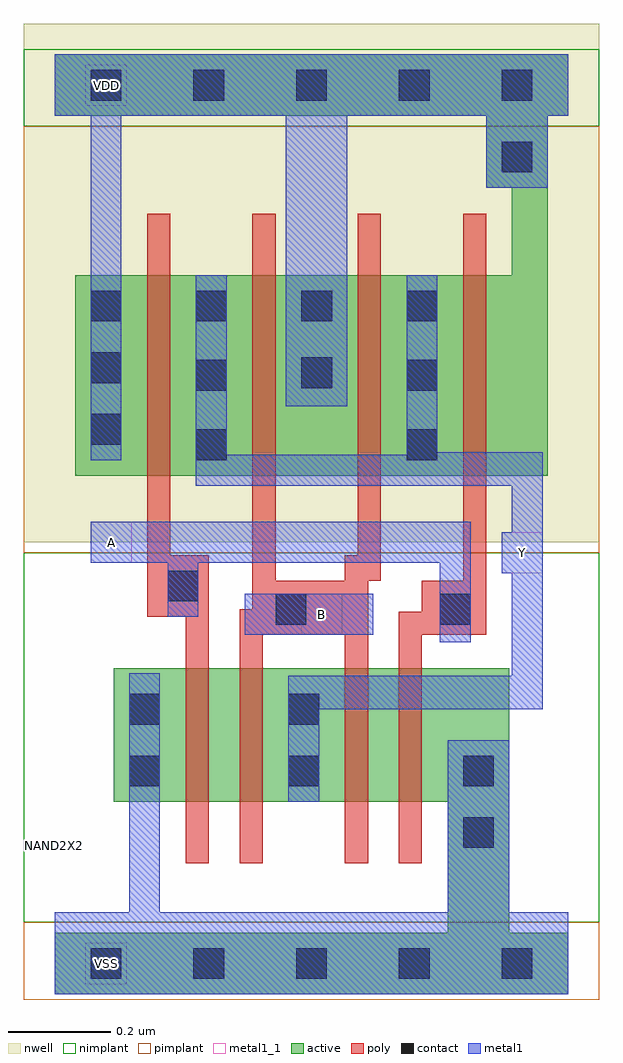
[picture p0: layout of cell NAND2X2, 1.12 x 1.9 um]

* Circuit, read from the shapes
.subckt NAND2X2 A B VDD VSS Y
M1 n1 A VSS VSS nfet w=0.26u l=0.045u
M2 Y B n1 VSS nfet w=0.26u l=0.045u
M3 n2 B Y VSS nfet w=0.26u l=0.045u
M4 VSS A n2 VSS nfet w=0.26u l=0.045u
M5 Y A VDD VDD pfet w=0.39u l=0.045u m=2
M6 VDD B Y VDD pfet w=0.39u l=0.045u m=2
.ends

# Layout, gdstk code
import gdstk
lib = gdstk.Library(unit=1e-6, precision=5e-10)
def R(c, l, rs):  # rectangles x0, y0, x1, y1
    for r in rs: c.add(gdstk.rectangle(r[:2], r[2:], *l))
def A(c, l, x, y, w, h, nx, ny, dx, dy):  # array of equal rectangles
    R(c, l, [(x+i*dx, y+j*dy, x+i*dx+w, y+j*dy+h) for i in range(nx) for j in range(ny)])
def P(c, l, *ps):  # polygons
    for p in ps: c.add(gdstk.Polygon(p, *l))
active = (1, 0)
nwell = (2, 0)
poly = (3, 0)
nimplant = (4, 0)
pimplant = (5, 0)
contact = (6, 0)
metal1 = (7, 0)
metal1_1 = (7, 1)

nand2x2 = lib.new_cell('NAND2X2')
P(nand2x2, active, [(1,0.06),(0.885,0.06),(0.885,0.575),(0.115,0.575),(0.115,0.315),(0.765,0.315),(0.765,0.06),(0,0.06),(0,-0.06),(1,-0.06)],
  [(1,1.77),(0,1.77),(0,1.65),(0.84,1.65),(0.84,1.51),(0.89,1.51),(0.89,1.34),(0.04,1.34),(0.04,0.95),(0.96,0.95),(0.96,1.65),(1,1.65)])
R(nand2x2, nwell, [(-0.06,0.82,1.06,1.83)])
P(nand2x2, poly, [(0.84,1.46),(0.795,1.46),(0.795,0.745),(0.715,0.745),(0.715,0.685),(0.67,0.685),(0.67,0.195),(0.715,0.195),(0.715,0.64),(0.84,0.64)],
  [(0.635,1.46),(0.59,1.46),(0.59,0.795),(0.565,0.795),(0.565,0.745),(0.43,0.745),(0.43,1.46),(0.385,1.46),(0.385,0.69),(0.36,0.69),(0.36,0.195),(0.405,0.195),(0.405,0.64),(0.565,0.64),(0.565,0.195),(0.61,0.195),(0.61,0.745),(0.635,0.745)],
  [(0.3,0.795),(0.225,0.795),(0.225,1.46),(0.18,1.46),(0.18,0.675),(0.255,0.675),(0.255,0.195),(0.3,0.195)])
R(nand2x2, nimplant, [(-0.06,0.08,1.06,0.8), (-0.06,1.63,1.06,1.78)])
R(nand2x2, pimplant, [(-0.06,-0.07,1.06,0.08), (-0.06,0.8,1.06,1.63)])
A(nand2x2, contact, 0.07, -0.03, 0.06, 0.06, 5, 2, 0.2, 1.71)
A(nand2x2, contact, 0.07, 1.25, 0.06, 0.06, 4, 1, 0.205, 0)
R(nand2x2, contact, [(0.795,0.225,0.855,0.285), (0.145,0.345,0.205,0.405), (0.455,0.345,0.515,0.405), (0.795,0.345,0.855,0.405), (0.145,0.465,0.205,0.525), (0.455,0.465,0.515,0.525), (0.43,0.66,0.49,0.72), (0.75,0.66,0.81,0.72), (0.22,0.705,0.28,0.765), (0.275,0.98,0.335,1.04), (0.685,0.98,0.745,1.04), (0.07,1.01,0.13,1.07), (0.275,1.115,0.335,1.175), (0.685,1.115,0.745,1.175), (0.48,1.12,0.54,1.18), (0.07,1.13,0.13,1.19), (0.87,1.54,0.93,1.6)])
R(nand2x2, metal1, [(0.37,0.64,0.62,0.72), (0.22,0.675,0.28,0.82), (0.84,1.51,0.96,1.65)])
P(nand2x2, metal1, [(1,1.77),(0,1.77),(0,1.65),(0.07,1.65),(0.07,0.98),(0.13,0.98),(0.13,1.65),(0.45,1.65),(0.45,1.085),(0.57,1.085),(0.57,1.65),(1,1.65)],
  [(0.95,0.995),(0.745,0.995),(0.745,1.34),(0.685,1.34),(0.685,0.99),(0.335,0.99),(0.335,1.34),(0.275,1.34),(0.275,0.93),(0.89,0.93),(0.89,0.84),(0.87,0.84),(0.87,0.76),(0.89,0.76),(0.89,0.56),(0.455,0.56),(0.455,0.315),(0.515,0.315),(0.515,0.495),(0.95,0.495)],
  [(0.81,0.86),(0.07,0.86),(0.07,0.78),(0.75,0.78),(0.75,0.625),(0.81,0.625)],
  [(0.145,0.565),(0.205,0.565),(0.205,0.1),(0.765,0.1),(0.765,0.435),(0.885,0.435),(0.885,0.1),(1,0.1),(1,-0.06),(0,-0.06),(0,0.1),(0.145,0.1)])
R(nand2x2, metal1_1, [(0.06,-0.04,0.14,0.04), (0.48,0.64,0.56,0.72), (0.87,0.76,0.95,0.84), (0.07,0.78,0.15,0.86), (0.06,1.67,0.14,1.75)])
nand2x2.add(gdstk.Label('VSS', (0.1,0), layer=7, texttype=1))
nand2x2.add(gdstk.Label('Y', (0.91,0.8), layer=7, texttype=1))
nand2x2.add(gdstk.Label('B', (0.52,0.68), layer=7, texttype=1))
nand2x2.add(gdstk.Label('A', (0.11,0.82), layer=7, texttype=1))
nand2x2.add(gdstk.Label('VDD', (0.1,1.71), layer=7, texttype=1))
nand2x2.add(gdstk.Label('NAND2X2', (0,0.23), layer=63, texttype=0))

lib.write_gds('NAND2X2.gds')
